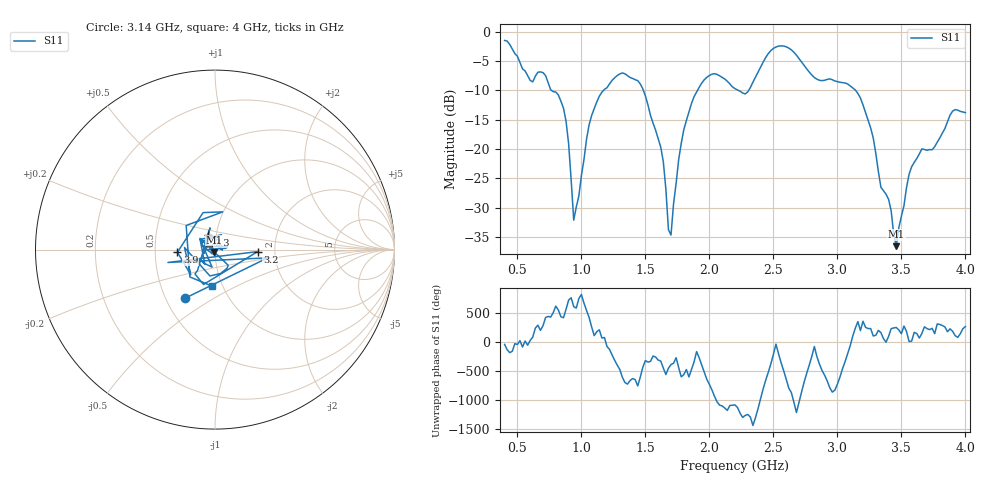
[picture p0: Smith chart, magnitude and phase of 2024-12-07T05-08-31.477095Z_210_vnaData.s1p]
!Created with skrf (http://scikit-rf.org).
# Hz S RI R 50.0
!freq ReS11 ImS11
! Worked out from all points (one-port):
!   181 points, 400 MHz to 4 GHz, reference 50 ohm
!   lowest |S11| = -36.6 dB at 3.46 GHz (marker M1), VSWR 1.03, Z = 49.5 - j1.38 ohm
!   |S11| at or under -10 dB: 766 MHz to 1.173 GHz (407.3 MHz wide, 42 % of centre); 1.484 GHz to 1.907 GHz (423.1 MHz wide, 25 % of centre); 3.142 GHz to end of sweep (the widest 3 of 4)
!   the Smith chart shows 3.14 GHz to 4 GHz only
!   S11 on the Smith chart (normalised r, x): 3.14 GHz: 0.63, -0.38; 3.2 GHz: 1.62, -0.04; 3.3 GHz: 0.92, +0.15; 3.9 GHz: 0.65, -0.02; 4 GHz: 0.89, -0.38
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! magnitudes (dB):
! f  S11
! 400 MHz  -1.5
! 860 MHz  -13.0
! 900 MHz  -19.1
! 940 MHz  -32.1
! 1.08 GHz  -14.3
! 1.3 GHz  -7.2
! 1.5 GHz  -10.9
! 1.62 GHz  -19.7
! 1.66 GHz  -26.9
! 1.68 GHz  -33.8
! 1.7 GHz  -34.7
! 1.76 GHz  -21.8
! 1.86 GHz  -12.3
! 1.96 GHz  -8.2
! 2.2 GHz  -9.7
! 2.3 GHz  -10.3
! 2.5 GHz  -2.9
! 2.66 GHz  -3.5
! 2.84 GHz  -8.1
! 3.1 GHz  -9.2
! 3.14 GHz  -9.9
! 3.2 GHz  -12.5
! 3.3 GHz  -20.8
! 3.42 GHz  -30.5
! 3.46 GHz  -36.6
! 3.56 GHz  -24.3
! 3.9 GHz  -13.6
! 4 GHz  -13.8
